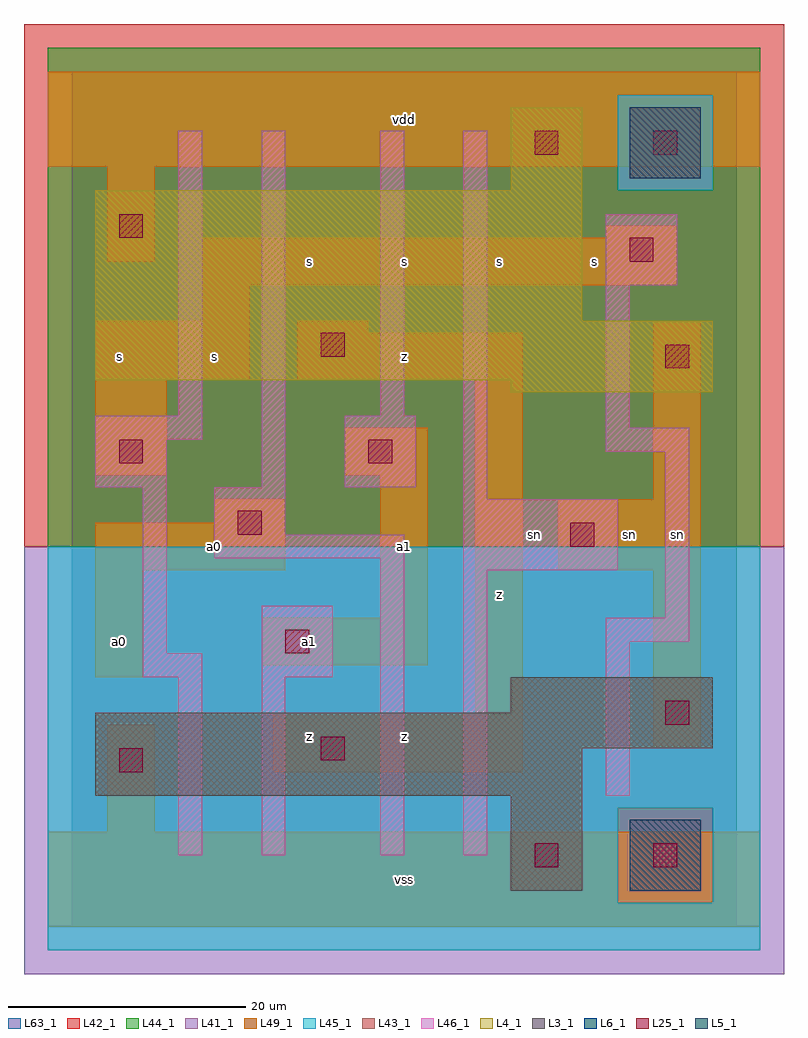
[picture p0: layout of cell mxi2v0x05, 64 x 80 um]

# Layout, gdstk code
import gdstk
lib = gdstk.Library(unit=1e-6, precision=1e-09)
def R(c, l, rs):  # rectangles x0, y0, x1, y1
    for r in rs: c.add(gdstk.rectangle(r[:2], r[2:], *l))
L3_1 = (3, 1)
L4_1 = (4, 1)
L5_1 = (5, 1)
L6_1 = (6, 1)
L25_1 = (25, 1)
L41_1 = (41, 1)
L42_1 = (42, 1)
L43_1 = (43, 1)
L44_1 = (44, 1)
L45_1 = (45, 1)
L46_1 = (46, 1)
L49_1 = (49, 1)
L63_1 = (63, 1)

mxi2v0x05 = lib.new_cell('mxi2v0x05')
R(mxi2v0x05, L3_1, [(37,3,43,11), (2,11,43,15), (2,15,54,18), (37,18,54,21)])
R(mxi2v0x05, L4_1, [(37,45,54,46), (2,46,54,51), (2,51,43,62), (37,62,43,69)])
R(mxi2v0x05, L5_1, [(47,63,53,69)])
R(mxi2v0x05, L6_1, [(47,3,53,9), (47,3,53,9)])
R(mxi2v0x05, L25_1, [(39,5,41,7), (49,5,51,7), (4,13,6,15), (21,14,23,16), (50,17,52,19), (18,23,20,25), (42,32,44,34), (14,33,16,35), (4,39,6,41), (25,39,27,41), (50,47,52,49), (21,48,23,50), (47,56,49,58), (4,58,6,60), (39,65,41,67), (49,65,51,67)])
R(mxi2v0x05, L41_1, [(-4,-4,60,32)])
R(mxi2v0x05, L42_1, [(-4,32,60,76)])
R(mxi2v0x05, L43_1, [(37,3,43,11), (47,3,53,9), (2,11,43,15), (2,15,54,18), (37,18,54,21), (37,45,54,46), (2,46,54,51), (2,51,43,62), (37,62,43,69), (47,63,53,69)])
R(mxi2v0x05, L44_1, [(46,2,54,10), (-2,32,58,62), (-2,62,46,70), (54,62,58,70), (-2,70,58,74)])
R(mxi2v0x05, L45_1, [(-2,-2,58,2), (-2,2,46,10), (54,2,58,10), (-2,10,58,32), (46,62,54,70)])
R(mxi2v0x05, L46_1, [(9,6,11,21), (16,6,18,21), (26,6,28,31), (33,6,35,30), (45,11,47,24), (6,21,11,23), (16,21,22,27), (6,23,8,37), (45,24,52,26), (50,26,52,40), (33,30,46,36), (12,31,28,33), (12,33,18,37), (33,36,35,67), (2,37,8,41), (16,37,18,67), (23,37,29,43), (45,40,52,42), (2,41,11,43), (45,42,47,54), (9,43,11,67), (26,43,28,67), (45,54,51,60)])
R(mxi2v0x05, L49_1, [(-2,0,58,8), (3,8,7,17), (17,13,38,18), (49,15,53,30), (34,18,38,46), (2,21,6,30), (16,22,30,26), (26,26,30,38), (2,30,18,34), (41,30,53,36), (12,34,18,36), (49,36,53,51), (2,38,8,46), (23,38,30,42), (2,46,15,51), (19,46,38,50), (19,50,25,51), (11,51,15,54), (11,54,51,58), (3,56,7,64), (45,58,51,59), (-2,64,58,72)])
R(mxi2v0x05, L63_1, [(0,0,56,72)])
mxi2v0x05.add(gdstk.Label('sn', (39,33), layer=46, texttype=1))
mxi2v0x05.add(gdstk.Label('a0', (4,24), layer=49, texttype=1))
mxi2v0x05.add(gdstk.Label('s', (4,48), layer=49, texttype=1))
mxi2v0x05.add(gdstk.Label('z', (20,16), layer=49, texttype=1))
mxi2v0x05.add(gdstk.Label('a0', (12,32), layer=49, texttype=1))
mxi2v0x05.add(gdstk.Label('a1', (20,24), layer=49, texttype=1))
mxi2v0x05.add(gdstk.Label('s', (12,48), layer=49, texttype=1))
mxi2v0x05.add(gdstk.Label('s', (20,56), layer=49, texttype=1))
mxi2v0x05.add(gdstk.Label('vss', (28,4), layer=49, texttype=1))
mxi2v0x05.add(gdstk.Label('z', (28,16), layer=49, texttype=1))
mxi2v0x05.add(gdstk.Label('a1', (28,32), layer=49, texttype=1))
mxi2v0x05.add(gdstk.Label('z', (36,28), layer=49, texttype=1))
mxi2v0x05.add(gdstk.Label('z', (28,48), layer=49, texttype=1))
mxi2v0x05.add(gdstk.Label('s', (36,56), layer=49, texttype=1))
mxi2v0x05.add(gdstk.Label('s', (28,56), layer=49, texttype=1))
mxi2v0x05.add(gdstk.Label('vdd', (28,68), layer=49, texttype=1))
mxi2v0x05.add(gdstk.Label('sn', (47,33), layer=49, texttype=1))
mxi2v0x05.add(gdstk.Label('sn', (51,33), layer=49, texttype=1))
mxi2v0x05.add(gdstk.Label('s', (44,56), layer=49, texttype=1))

lib.write_gds('mxi2v0x05.gds')
